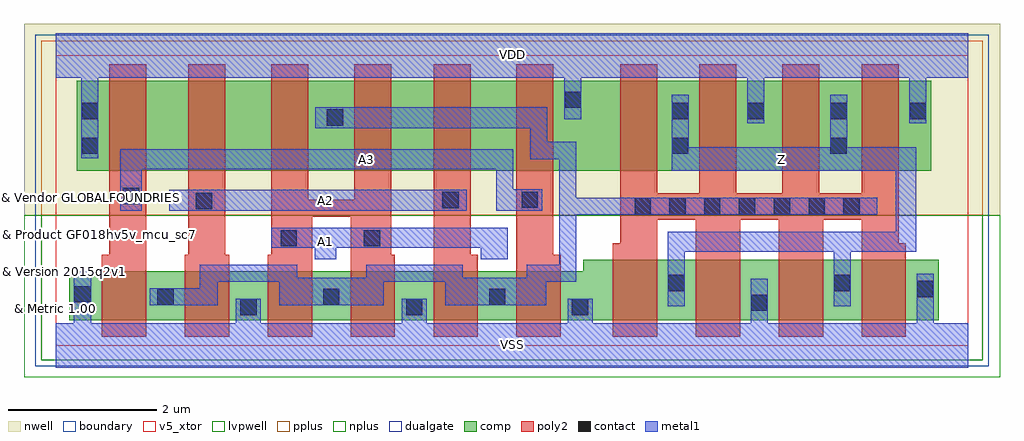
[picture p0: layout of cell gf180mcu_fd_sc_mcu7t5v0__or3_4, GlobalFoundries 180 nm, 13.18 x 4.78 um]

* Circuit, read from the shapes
.subckt gf180mcu_fd_sc_mcu7t5v0__or3_4 A1 A2 A3 VDD VSS Z
XM1 n1 A3 VSS VSUBS nfet_05v0 w=0.665u l=0.6u m=2
XM2 VSS A2 n1 VSUBS nfet_05v0 w=0.665u l=0.6u m=2
XM3 n1 A1 VSS VSUBS nfet_05v0 w=0.665u l=0.6u m=2
XM4 Z n1 VSS VSUBS nfet_05v0 w=0.82u l=0.6u m=4
XM5 n2 A3 VDD n3 pfet_05v0 w=1.22u l=0.5u
XM6 n4 A2 n2 n3 pfet_05v0 w=1.22u l=0.5u
XM7 n1 A1 n4 n3 pfet_05v0 w=1.22u l=0.5u
XM8 n5 A1 n1 n3 pfet_05v0 w=1.22u l=0.5u
XM9 n6 A2 n5 n3 pfet_05v0 w=1.22u l=0.5u
XM10 VDD A3 n6 n3 pfet_05v0 w=1.22u l=0.5u
XM11 Z n1 VDD n3 pfet_05v0 w=1.22u l=0.5u m=4
.ends

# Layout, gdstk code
import gdstk
lib = gdstk.Library(unit=1e-6, precision=1e-09)
def R(c, l, rs):  # rectangles x0, y0, x1, y1
    for r in rs: c.add(gdstk.rectangle(r[:2], r[2:], *l))
def A(c, l, x, y, w, h, nx, ny, dx, dy):  # array of equal rectangles
    R(c, l, [(x+i*dx, y+j*dy, x+i*dx+w, y+j*dy+h) for i in range(nx) for j in range(ny)])
def P(c, l, *ps):  # polygons
    for p in ps: c.add(gdstk.Polygon(p, *l))
boundary = (0, 0)
nwell = (21, 0)
comp = (22, 0)
poly2 = (30, 0)
pplus = (31, 0)
nplus = (32, 0)
contact = (33, 0)
metal1 = (34, 0)
dualgate = (55, 0)
v5_xtor = (112, 1)
lvpwell = (204, 0)

gf180mcu_fd_sc_mcu7t5v0_ = lib.new_cell('gf180mcu_fd_sc_mcu7t5v0__or3_4')
R(gf180mcu_fd_sc_mcu7t5v0_, boundary, [(0,0,12.32,3.92)])
R(gf180mcu_fd_sc_mcu7t5v0_, nwell, [(-0.43,1.76,12.75,4.35)])
R(gf180mcu_fd_sc_mcu7t5v0_, comp, [(0.28,2.36,11.82,3.58)])
P(gf180mcu_fd_sc_mcu7t5v0_, comp, [(0.18,0.34),(0.18,1.005),(7.12,1.005),(7.12,1.16),(11.92,1.16),(11.92,0.34)])
P(gf180mcu_fd_sc_mcu7t5v0_, poly2, [(0.62,0.12),(0.62,1.225),(0.72,1.225),(0.72,3.8),(1.22,3.8),(1.22,0.12)],
  [(1.74,0.12),(1.74,1.225),(1.79,1.225),(1.79,3.8),(2.29,3.8),(2.29,1.225),(2.34,1.225),(2.34,0.12)],
  [(2.86,0.12),(2.86,1.225),(2.91,1.225),(2.91,3.8),(3.41,3.8),(3.41,1.97),(4.03,1.97),(4.03,3.8),(4.53,3.8),(4.53,1.225),(4.58,1.225),(4.58,0.12),(3.98,0.12),(3.98,1.74),(3.46,1.74),(3.46,0.12)],
  [(5.1,0.12),(5.1,3.8),(5.6,3.8),(5.6,1.225),(5.7,1.225),(5.7,0.12)],
  [(6.22,0.12),(6.22,3.8),(6.72,3.8),(6.72,1.225),(6.82,1.225),(6.82,0.12)],
  [(7.52,0.12),(7.52,1.38),(7.62,1.38),(7.62,3.8),(8.12,3.8),(8.12,2.06),(8.69,2.06),(8.69,3.8),(9.19,3.8),(9.19,2.06),(9.81,2.06),(9.81,3.8),(10.31,3.8),(10.31,2.06),(10.88,2.06),(10.88,3.8),(11.38,3.8),(11.38,1.38),(11.48,1.38),(11.48,0.12),(10.88,0.12),(10.88,1.7),(10.36,1.7),(10.36,0.12),(9.76,0.12),(9.76,1.7),(9.24,1.7),(9.24,0.12),(8.64,0.12),(8.64,1.7),(8.12,1.7),(8.12,0.12)])
R(gf180mcu_fd_sc_mcu7t5v0_, pplus, [(-0.2,1.76,12.52,4.12)])
R(gf180mcu_fd_sc_mcu7t5v0_, nplus, [(-0.2,-0.2,12.52,1.76)])
A(gf180mcu_fd_sc_mcu7t5v0_, contact, 2.49, 0.41, 0.22, 0.22, 3, 1, 2.24, 0)
A(gf180mcu_fd_sc_mcu7t5v0_, contact, 1.37, 0.55, 0.22, 0.22, 3, 1, 2.24, 0)
A(gf180mcu_fd_sc_mcu7t5v0_, contact, 7.815, 1.77, 0.22, 0.22, 7, 1, 0.47, 0)
R(gf180mcu_fd_sc_mcu7t5v0_, contact, [(9.39,0.47,9.61,0.69), (0.25,0.585,0.47,0.805), (11.63,0.655,11.85,0.875), (8.27,0.735,8.49,0.955), (10.51,0.735,10.73,0.955), (3.035,1.34,3.255,1.56), (4.16,1.34,4.38,1.56), (1.89,1.845,2.11,2.065), (5.22,1.855,5.44,2.075), (6.29,1.86,6.51,2.08), (0.905,1.91,1.125,2.13), (0.35,2.59,0.57,2.81), (8.32,2.59,8.54,2.81), (10.46,2.59,10.68,2.81), (3.66,2.97,3.88,3.19), (0.35,3.06,0.57,3.28), (8.32,3.06,8.54,3.28), (9.34,3.06,9.56,3.28), (10.46,3.06,10.68,3.28), (11.53,3.06,11.75,3.28), (6.87,3.21,7.09,3.43)])
R(gf180mcu_fd_sc_mcu7t5v0_, metal1, [(1.53,1.82,5.55,2.105)])
P(gf180mcu_fd_sc_mcu7t5v0_, metal1, [(3.495,1.17),(3.495,1.325),(2.91,1.325),(2.91,1.59),(6.105,1.59),(6.105,1.17),(5.735,1.17),(5.735,1.325),(3.785,1.325),(3.785,1.17)],
  [(0.87,1.82),(0.87,2.655),(6.175,2.655),(6.175,2.115),(6.57,2.115),(6.57,1.82),(5.945,1.82),(5.945,2.38),(1.16,2.38),(1.16,1.82)],
  [(1.265,0.545),(1.265,0.775),(1.94,0.775),(1.94,1.095),(3.26,1.095),(3.26,0.92),(4.19,0.92),(4.19,1.095),(5.495,1.095),(5.495,0.92),(6.36,0.92),(6.36,1.095),(6.8,1.095),(6.8,2.52),(6.405,2.52),(6.405,2.935),(3.505,2.935),(3.505,3.22),(6.635,3.22),(6.635,2.755),(7.03,2.755),(7.03,1.995),(11.095,1.995),(11.095,1.765),(7.03,1.765),(7.03,0.865),(6.62,0.865),(6.62,0.545),(5.26,0.545),(5.26,0.865),(4.43,0.865),(4.43,0.545),(3.015,0.545),(3.015,0.865),(2.185,0.865),(2.185,0.545)],
  [(8.265,0.53),(8.265,1.535),(11.345,1.535),(11.345,2.36),(8.315,2.36),(8.315,3.39),(8.545,3.39),(8.545,2.68),(10.455,2.68),(10.455,3.39),(10.685,3.39),(10.685,2.68),(11.62,2.68),(11.62,1.265),(10.735,1.265),(10.735,0.53),(10.505,0.53),(10.505,1.265),(8.495,1.265),(8.495,0.53)],
  [(0,-0.3),(0,0.3),(0.245,0.3),(0.245,1.005),(0.475,1.005),(0.475,0.3),(2.43,0.3),(2.43,0.635),(2.77,0.635),(2.77,0.3),(4.67,0.3),(4.67,0.635),(5.01,0.635),(5.01,0.3),(6.91,0.3),(6.91,0.635),(7.25,0.635),(7.25,0.3),(9.385,0.3),(9.385,0.9),(9.615,0.9),(9.615,0.3),(11.625,0.3),(11.625,0.97),(11.855,0.97),(11.855,0.3),(12.32,0.3),(12.32,-0.3)],
  [(0.345,2.53),(0.345,3.62),(0,3.62),(0,4.22),(12.32,4.22),(12.32,3.62),(11.755,3.62),(11.755,3),(11.525,3),(11.525,3.62),(9.565,3.62),(9.565,3),(9.335,3),(9.335,3.62),(7.095,3.62),(7.095,3.06),(6.865,3.06),(6.865,3.62),(0.575,3.62),(0.575,2.53)])
R(gf180mcu_fd_sc_mcu7t5v0_, dualgate, [(-0.28,-0.28,12.6,4.2)])
R(gf180mcu_fd_sc_mcu7t5v0_, v5_xtor, [(0,0,12.32,3.92)])
R(gf180mcu_fd_sc_mcu7t5v0_, lvpwell, [(-0.43,-0.43,12.75,1.76)])
gf180mcu_fd_sc_mcu7t5v0_.add(gdstk.Label('A3', (4.2,2.52), layer=34, texttype=10))
gf180mcu_fd_sc_mcu7t5v0_.add(gdstk.Label('VDD', (6.16,3.935), layer=34, texttype=10))
gf180mcu_fd_sc_mcu7t5v0_.add(gdstk.Label('VSS', (6.16,0.02), layer=34, texttype=10))
gf180mcu_fd_sc_mcu7t5v0_.add(gdstk.Label('Z', (9.8,2.52), layer=34, texttype=10))
gf180mcu_fd_sc_mcu7t5v0_.add(gdstk.Label('A1', (3.64,1.4), layer=34, texttype=10))
gf180mcu_fd_sc_mcu7t5v0_.add(gdstk.Label('A2', (3.64,1.96), layer=34, texttype=10))
gf180mcu_fd_sc_mcu7t5v0_.add(gdstk.Label('& Vendor GLOBALFOUNDRIES', (0,2), layer=63, texttype=63))
gf180mcu_fd_sc_mcu7t5v0_.add(gdstk.Label('& Product GF018hv5v_mcu_sc7', (0,1.5), layer=63, texttype=63))
gf180mcu_fd_sc_mcu7t5v0_.add(gdstk.Label('& Version 2015q2v1', (0,1), layer=63, texttype=63))
gf180mcu_fd_sc_mcu7t5v0_.add(gdstk.Label('& Metric 1.00', (0,0.5), layer=63, texttype=63))

lib.write_gds('gf180mcu_fd_sc_mcu7t5v0__or3_4.gds')
